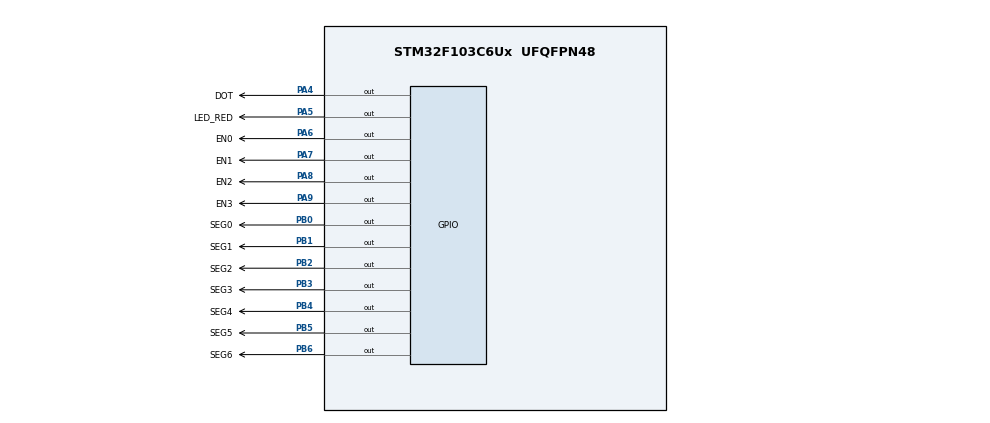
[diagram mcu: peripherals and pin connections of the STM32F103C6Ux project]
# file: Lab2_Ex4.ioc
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Mcu.Family=STM32F1
Mcu.Name=STM32F103C6Ux
Mcu.Package=UFQFPN48
NVIC.PriorityGroup=NVIC_PRIORITYGROUP_4
NVIC.TIM2_IRQn=true\:0\:0\:false\:false\:true\:true\:true
PA4.GPIO_Label=DOT
PA4.Signal=GPIO_Output
PA5.GPIO_Label=LED_RED
PA5.Signal=GPIO_Output
PA6.GPIO_Label=EN0
PA6.Signal=GPIO_Output
PA7.GPIO_Label=EN1
PA7.Signal=GPIO_Output
PA8.GPIO_Label=EN2
PA8.Signal=GPIO_Output
PA9.GPIO_Label=EN3
PA9.Signal=GPIO_Output
PB0.GPIO_Label=SEG0
PB0.Signal=GPIO_Output
PB1.GPIO_Label=SEG1
PB1.Signal=GPIO_Output
PB2.GPIO_Label=SEG2
PB2.Signal=GPIO_Output
PB3.GPIO_Label=SEG3
PB3.Signal=GPIO_Output
PB4.GPIO_Label=SEG4
PB4.Signal=GPIO_Output
PB5.GPIO_Label=SEG5
PB5.Signal=GPIO_Output
PB6.GPIO_Label=SEG6
PB6.Signal=GPIO_Output
ProjectManager.HeapSize=0x200
ProjectManager.StackSize=0x400
ProjectManager.TargetToolchain=STM32CubeIDE
RCC.APB1Freq_Value=8000000
RCC.APB2Freq_Value=8000000
TIM2.Period=9
TIM2.Prescaler=7999
VP_SYS_VS_ND.Mode=No_Debug
VP_TIM2_VS_ClockSourceINT.Mode=Internal
board=custom

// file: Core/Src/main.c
/* USER CODE BEGIN Header */
/**
  ******************************************************************************
  * @file           : main.c
  * @brief          : Main program body
  ******************************************************************************
  * @attention
  *
  * <h2><center>&copy; Copyright (c) 2022 STMicroelectronics.
  * All rights reserved.</center></h2>
  *
  * This software component is licensed by ST under BSD 3-Clause license,
  * the "License"; You may not use this file except in compliance with the
  * License. You may obtain a copy of the License at:
  *                        opensource.org/licenses/BSD-3-Clause
  *
  ******************************************************************************
  */
/* USER CODE END Header */
#include "main.h"

TIM_HandleTypeDef htim2;

void SystemClock_Config(void);
static void MX_GPIO_Init(void);
static void MX_TIM2_Init(void);

int main(void)
{

  /* MCU Configuration--------------------------------------------------------*/

  /* Reset of all peripherals, Initializes the Flash interface and the Systick. */
  HAL_Init();

  /* Configure the system clock */
  SystemClock_Config();

  /* Initialize all configured peripherals */
  MX_GPIO_Init();
  MX_TIM2_Init();
  /* USER CODE BEGIN 2 */
  HAL_TIM_Base_Start_IT (& htim2 ) ;
  /* USER CODE END 2 */

  /* Infinite loop */
  while (1)
  {

  }
}

void SystemClock_Config(void)
{
  RCC_OscInitTypeDef RCC_OscInitStruct = {0};
  RCC_ClkInitTypeDef RCC_ClkInitStruct = {0};

  /** Initializes the RCC Oscillators according to the specified parameters
  * in the RCC_OscInitTypeDef structure.
  */
  RCC_OscInitStruct.OscillatorType = RCC_OSCILLATORTYPE_HSI;
  RCC_OscInitStruct.HSIState = RCC_HSI_ON;
  RCC_OscInitStruct.HSICalibrationValue = RCC_HSICALIBRATION_DEFAULT;
  RCC_OscInitStruct.PLL.PLLState = RCC_PLL_NONE;
  if (HAL_RCC_OscConfig(&RCC_OscInitStruct) != HAL_OK)
  {
    Error_Handler();
  }
  /** Initializes the CPU, AHB and APB buses clocks
  */
  RCC_ClkInitStruct.ClockType = RCC_CLOCKTYPE_HCLK|RCC_CLOCKTYPE_SYSCLK
                              |RCC_CLOCKTYPE_PCLK1|RCC_CLOCKTYPE_PCLK2;
  RCC_ClkInitStruct.SYSCLKSource = RCC_SYSCLKSOURCE_HSI;
  RCC_ClkInitStruct.AHBCLKDivider = RCC_SYSCLK_DIV1;
  RCC_ClkInitStruct.APB1CLKDivider = RCC_HCLK_DIV1;
  RCC_ClkInitStruct.APB2CLKDivider = RCC_HCLK_DIV1;

  if (HAL_RCC_ClockConfig(&RCC_ClkInitStruct, FLASH_LATENCY_0) != HAL_OK)
  {
    Error_Handler();
  }
}

static void MX_TIM2_Init(void)
{

  TIM_ClockConfigTypeDef sClockSourceConfig = {0};
  TIM_MasterConfigTypeDef sMasterConfig = {0};

  htim2.Instance = TIM2;
  htim2.Init.Prescaler = 7999;
  htim2.Init.CounterMode = TIM_COUNTERMODE_UP;
  htim2.Init.Period = 9;
  htim2.Init.ClockDivision = TIM_CLOCKDIVISION_DIV1;
  htim2.Init.AutoReloadPreload = TIM_AUTORELOAD_PRELOAD_DISABLE;
  if (HAL_TIM_Base_Init(&htim2) != HAL_OK)
  {
    Error_Handler();
  }
  sClockSourceConfig.ClockSource = TIM_CLOCKSOURCE_INTERNAL;
  if (HAL_TIM_ConfigClockSource(&htim2, &sClockSourceConfig) != HAL_OK)
  {
    Error_Handler();
  }
  sMasterConfig.MasterOutputTrigger = TIM_TRGO_RESET;
  sMasterConfig.MasterSlaveMode = TIM_MASTERSLAVEMODE_DISABLE;
  if (HAL_TIMEx_MasterConfigSynchronization(&htim2, &sMasterConfig) != HAL_OK)
  {
    Error_Handler();
  }

}

static void MX_GPIO_Init(void)
{
  GPIO_InitTypeDef GPIO_InitStruct = {0};

  /* GPIO Ports Clock Enable */
  __HAL_RCC_GPIOA_CLK_ENABLE();
  __HAL_RCC_GPIOB_CLK_ENABLE();

  /*Configure GPIO pin Output Level */
  HAL_GPIO_WritePin(GPIOA, DOT_Pin|LED_RED_Pin|EN0_Pin|EN1_Pin
                          |EN2_Pin|EN3_Pin, GPIO_PIN_RESET);

  /*Configure GPIO pin Output Level */
  HAL_GPIO_WritePin(GPIOB, SEG0_Pin|SEG1_Pin|SEG2_Pin|SEG3_Pin
                          |SEG4_Pin|SEG5_Pin|SEG6_Pin, GPIO_PIN_RESET);

  /*Configure GPIO pins : DOT_Pin LED_RED_Pin EN0_Pin EN1_Pin
                           EN2_Pin EN3_Pin */
  GPIO_InitStruct.Pin = DOT_Pin|LED_RED_Pin|EN0_Pin|EN1_Pin
                          |EN2_Pin|EN3_Pin;
  GPIO_InitStruct.Mode = GPIO_MODE_OUTPUT_PP;
  GPIO_InitStruct.Pull = GPIO_NOPULL;
  GPIO_InitStruct.Speed = GPIO_SPEED_FREQ_LOW;
  HAL_GPIO_Init(GPIOA, &GPIO_InitStruct);

  /*Configure GPIO pins : SEG0_Pin SEG1_Pin SEG2_Pin SEG3_Pin
                           SEG4_Pin SEG5_Pin SEG6_Pin */
  GPIO_InitStruct.Pin = SEG0_Pin|SEG1_Pin|SEG2_Pin|SEG3_Pin
                          |SEG4_Pin|SEG5_Pin|SEG6_Pin;
  GPIO_InitStruct.Mode = GPIO_MODE_OUTPUT_PP;
  GPIO_InitStruct.Pull = GPIO_NOPULL;
  GPIO_InitStruct.Speed = GPIO_SPEED_FREQ_LOW;
  HAL_GPIO_Init(GPIOB, &GPIO_InitStruct);

}

/* USER CODE BEGIN 4 */
void display7SEG(int num){
  	if(num == 0){
  		HAL_GPIO_WritePin(SEG0_GPIO_Port, SEG0_Pin, RESET);
  		HAL_GPIO_WritePin(SEG1_GPIO_Port, SEG1_Pin, RESET);
  		HAL_GPIO_WritePin(SEG2_GPIO_Port, SEG2_Pin, RESET);
  		HAL_GPIO_WritePin(SEG3_GPIO_Port, SEG3_Pin, RESET);
  		HAL_GPIO_WritePin(SEG4_GPIO_Port, SEG4_Pin, RESET);
  		HAL_GPIO_WritePin(SEG5_GPIO_Port, SEG5_Pin, RESET);
  		HAL_GPIO_WritePin(SEG6_GPIO_Port, SEG6_Pin, SET);
  	}
  	else if(num == 1){
  		HAL_GPIO_WritePin(SEG0_GPIO_Port, SEG0_Pin, SET);
  		HAL_GPIO_WritePin(SEG1_GPIO_Port, SEG1_Pin, RESET);
  		HAL_GPIO_WritePin(SEG2_GPIO_Port, SEG2_Pin, RESET);
  		HAL_GPIO_WritePin(SEG3_GPIO_Port, SEG3_Pin, SET);
  		HAL_GPIO_WritePin(SEG4_GPIO_Port, SEG4_Pin, SET);
  		HAL_GPIO_WritePin(SEG5_GPIO_Port, SEG5_Pin, SET);
  		HAL_GPIO_WritePin(SEG6_GPIO_Port, SEG6_Pin, SET);
  	}
  	else if(num == 2){
  		HAL_GPIO_WritePin(SEG0_GPIO_Port, SEG0_Pin, RESET);
  		HAL_GPIO_WritePin(SEG1_GPIO_Port, SEG1_Pin, RESET);
  		HAL_GPIO_WritePin(SEG2_GPIO_Port, SEG2_Pin, SET);
  		HAL_GPIO_WritePin(SEG3_GPIO_Port, SEG3_Pin, RESET);
  		HAL_GPIO_WritePin(SEG4_GPIO_Port, SEG4_Pin, RESET);
  		HAL_GPIO_WritePin(SEG5_GPIO_Port, SEG5_Pin, SET);
  		HAL_GPIO_WritePin(SEG6_GPIO_Port, SEG6_Pin, RESET);
  	}
  	else if(num == 3){
  		HAL_GPIO_WritePin(SEG0_GPIO_Port, SEG0_Pin, RESET);
  		HAL_GPIO_WritePin(SEG1_GPIO_Port, SEG1_Pin, RESET);
  		HAL_GPIO_WritePin(SEG2_GPIO_Port, SEG2_Pin, RESET);
  		HAL_GPIO_WritePin(SEG3_GPIO_Port, SEG3_Pin, RESET);
  		HAL_GPIO_WritePin(SEG4_GPIO_Port, SEG4_Pin, SET);
  		HAL_GPIO_WritePin(SEG5_GPIO_Port, SEG5_Pin, SET);
  		HAL_GPIO_WritePin(SEG6_GPIO_Port, SEG6_Pin, RESET);
  	}
  	else if(num == 4){
  		HAL_GPIO_WritePin(SEG0_GPIO_Port, SEG0_Pin, SET);
  		HAL_GPIO_WritePin(SEG1_GPIO_Port, SEG1_Pin, RESET);
  		HAL_GPIO_WritePin(SEG2_GPIO_Port, SEG2_Pin, RESET);
  		HAL_GPIO_WritePin(SEG3_GPIO_Port, SEG3_Pin, SET);
  		HAL_GPIO_WritePin(SEG4_GPIO_Port, SEG4_Pin, SET);
  		HAL_GPIO_WritePin(SEG5_GPIO_Port, SEG5_Pin, RESET);
  		HAL_GPIO_WritePin(SEG6_GPIO_Port, SEG6_Pin, RESET);
  	}
  	else if(num == 5){
  		HAL_GPIO_WritePin(SEG0_GPIO_Port, SEG0_Pin, RESET);
  		HAL_GPIO_WritePin(SEG1_GPIO_Port, SEG1_Pin, SET);
  		HAL_GPIO_WritePin(SEG2_GPIO_Port, SEG2_Pin, RESET);
  		HAL_GPIO_WritePin(SEG3_GPIO_Port, SEG3_Pin, RESET);
  		HAL_GPIO_WritePin(SEG4_GPIO_Port, SEG4_Pin, SET);
  		HAL_GPIO_WritePin(SEG5_GPIO_Port, SEG5_Pin, RESET);
  		HAL_GPIO_WritePin(SEG6_GPIO_Port, SEG6_Pin, RESET);
  	}
  	else if(num == 6){
  		HAL_GPIO_WritePin(SEG0_GPIO_Port, SEG0_Pin, RESET);
  		HAL_GPIO_WritePin(SEG1_GPIO_Port, SEG1_Pin, SET);
  		HAL_GPIO_WritePin(SEG2_GPIO_Port, SEG2_Pin, RESET);
  		HAL_GPIO_WritePin(SEG3_GPIO_Port, SEG3_Pin, RESET);
  		HAL_GPIO_WritePin(SEG4_GPIO_Port, SEG4_Pin, RESET);
  		HAL_GPIO_WritePin(SEG5_GPIO_Port, SEG5_Pin, RESET);
  		HAL_GPIO_WritePin(SEG6_GPIO_Port, SEG6_Pin, RESET);
  	}
  	else if(num == 7){
  		HAL_GPIO_WritePin(SEG0_GPIO_Port, SEG0_Pin, RESET);
  		HAL_GPIO_WritePin(SEG1_GPIO_Port, SEG1_Pin, RESET);
  		HAL_GPIO_WritePin(SEG2_GPIO_Port, SEG2_Pin, RESET);
  		HAL_GPIO_WritePin(SEG3_GPIO_Port, SEG3_Pin, SET);
  		HAL_GPIO_WritePin(SEG4_GPIO_Port, SEG4_Pin, SET);
  		HAL_GPIO_WritePin(SEG5_GPIO_Port, SEG5_Pin, SET);
  		HAL_GPIO_WritePin(SEG6_GPIO_Port, SEG6_Pin, SET);
  	}
  	else if(num == 8){
  		HAL_GPIO_WritePin(SEG0_GPIO_Port, SEG0_Pin, RESET);
  		HAL_GPIO_WritePin(SEG1_GPIO_Port, SEG1_Pin, RESET);
  		HAL_GPIO_WritePin(SEG2_GPIO_Port, SEG2_Pin, RESET);
  		HAL_GPIO_WritePin(SEG3_GPIO_Port, SEG3_Pin, RESET);
  		HAL_GPIO_WritePin(SEG4_GPIO_Port, SEG4_Pin, RESET);
  		HAL_GPIO_WritePin(SEG5_GPIO_Port, SEG5_Pin, RESET);
  		HAL_GPIO_WritePin(SEG6_GPIO_Port, SEG6_Pin, RESET);
  	}
  	else if(num == 9){
  		HAL_GPIO_WritePin(SEG0_GPIO_Port, SEG0_Pin, RESET);
  		HAL_GPIO_WritePin(SEG1_GPIO_Port, SEG1_Pin, RESET);
  		HAL_GPIO_WritePin(SEG2_GPIO_Port, SEG2_Pin, RESET);
  		HAL_GPIO_WritePin(SEG3_GPIO_Port, SEG3_Pin, RESET);
  		HAL_GPIO_WritePin(SEG4_GPIO_Port, SEG4_Pin, SET);
  		HAL_GPIO_WritePin(SEG5_GPIO_Port, SEG5_Pin, RESET);
  		HAL_GPIO_WritePin(SEG6_GPIO_Port, SEG6_Pin, RESET);
  	}
  }

const int MAX_LED = 4;
int index_led = 0;
int led_buffer [4] = {1 , 2 , 3 , 0};

void update7SEG ( int index ) {
switch ( index ) {
case 0:
// Display the first 7 SEG with led_buffer [0]
	HAL_GPIO_WritePin(EN0_GPIO_Port, EN0_Pin, RESET);
	HAL_GPIO_WritePin(EN1_GPIO_Port, EN1_Pin, SET);
	HAL_GPIO_WritePin(EN2_GPIO_Port, EN2_Pin, SET);
	HAL_GPIO_WritePin(EN3_GPIO_Port, EN3_Pin, SET);
	display7SEG(led_buffer[0]);
break ;
case 1:
 // Display the second 7 SEG with led_buffer [1]
	HAL_GPIO_WritePin(EN0_GPIO_Port, EN0_Pin, SET);
	HAL_GPIO_WritePin(EN1_GPIO_Port, EN1_Pin, RESET);
	HAL_GPIO_WritePin(EN2_GPIO_Port, EN2_Pin, SET);
	HAL_GPIO_WritePin(EN3_GPIO_Port, EN3_Pin, SET);
	display7SEG(led_buffer[1]);
break ;
case 2:
 // Display the third 7 SEG with led_buffer [2]
	HAL_GPIO_WritePin(EN0_GPIO_Port, EN0_Pin, SET);
	HAL_GPIO_WritePin(EN1_GPIO_Port, EN1_Pin, SET);
	HAL_GPIO_WritePin(EN2_GPIO_Port, EN2_Pin, RESET);
	HAL_GPIO_WritePin(EN3_GPIO_Port, EN3_Pin, SET);
	display7SEG(led_buffer[2]);
break ;
case 3:
 // Display the forth 7 SEG with led_buffer [3]
	HAL_GPIO_WritePin(EN0_GPIO_Port, EN0_Pin, SET);
	HAL_GPIO_WritePin(EN1_GPIO_Port, EN1_Pin, SET);
	HAL_GPIO_WritePin(EN2_GPIO_Port, EN2_Pin, SET);
	HAL_GPIO_WritePin(EN3_GPIO_Port, EN3_Pin, RESET);
	display7SEG(led_buffer [3]);
break ;
default :
break ;
 }
}

int led_counter = 100;
int switch_time = 100;

void HAL_TIM_PeriodElapsedCallback ( TIM_HandleTypeDef * htim ){
	led_counter--;
	if( led_counter <= 0) {
	led_counter = 100;
	HAL_GPIO_TogglePin ( DOT_GPIO_Port , DOT_Pin ) ;
	}
	switch_time--;

	if(switch_time == 75){
		update7SEG(index_led);
		index_led++;
	}
	else if(switch_time == 50){
		update7SEG(index_led);
		index_led++;
	}
	else if(switch_time == 25){
		update7SEG(index_led);
		index_led++;
	}
	else if(switch_time == 0){
		switch_time = 100;
		update7SEG(index_led);
		index_led++;
	}

	if(index_led > 3){
		index_led = 0;
	}

}
/* USER CODE END 4 */

void Error_Handler(void)
{
  __disable_irq();
  while (1)
  {
  }
}

/************************ (C) COPYRIGHT STMicroelectronics *****END OF FILE****/
